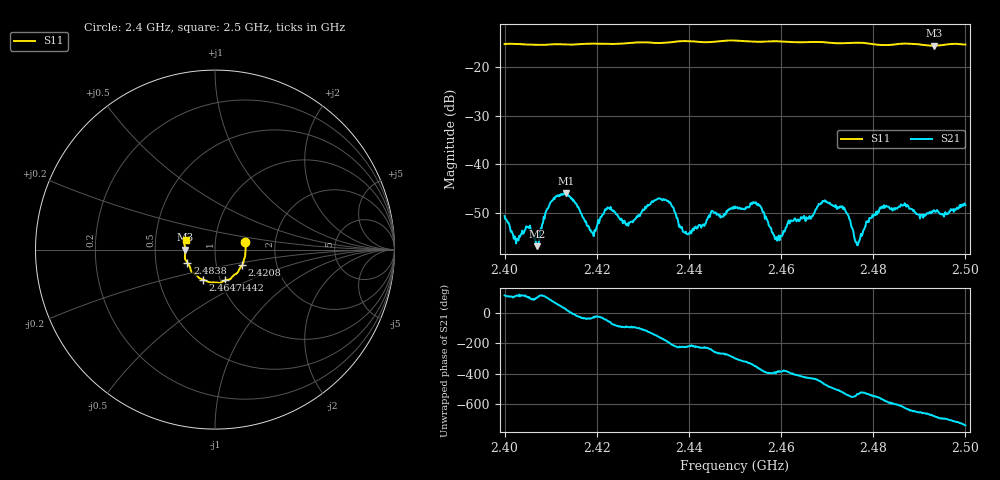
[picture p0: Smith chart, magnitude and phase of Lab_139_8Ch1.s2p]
# Hz S RI R 50
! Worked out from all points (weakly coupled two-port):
!   601 points, 2.4 GHz to 2.5 GHz, reference 50 ohm
!   highest |S21| = -46.00 dB at 2.4133 GHz (marker M1); lowest = -56.9 dB at 2.407 GHz (marker M2)
!   lowest |S11| = -15.6 dB at 2.4932 GHz (marker M3), VSWR 1.40, Z = 35.8 - j0.0738 ohm
!   |S11| at or under -10 dB: start of sweep to end of sweep
!   S12 and S22 are empty: the file has one direction only
!   S11 on the Smith chart (normalised r, x): 2.4 GHz: 1.40, +0.12; 2.4208 GHz: 1.33, -0.24; 2.4442 GHz: 1.05, -0.37; 2.4647 GHz: 0.83, -0.29; 2.4838 GHz: 0.73, -0.11; 2.5 GHz: 0.72, +0.08
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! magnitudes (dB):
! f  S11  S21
! 2.4 GHz  -15.3  -50.7
! 2.407 GHz  -15.4  -56.9
! 2.4102 GHz  -15.3  -47.8
! 2.4133 GHz  -15.3  -46.0
! 2.4167 GHz  -15.2  -50.2
! 2.4192 GHz  -15.2  -54.3
! 2.4208 GHz  -15.2  -50.9
! 2.4268 GHz  -15.1  -52.7
! 2.4333 GHz  -15.1  -47.1
! 2.4393 GHz  -14.6  -53.9
! 2.4442 GHz  -14.9  -50.9
! 2.45 GHz  -14.5  -48.8
! 2.455 GHz  -14.8  -48.2
! 2.4592 GHz  -14.7  -55.8
! 2.4647 GHz  -14.9  -51.3
! 2.4667 GHz  -14.8  -50.8
! 2.4733 GHz  -15.1  -48.7
! 2.4765 GHz  -15.0  -56.7
! 2.4833 GHz  -15.5  -48.8
! 2.4838 GHz  -15.4  -49.3
! 2.4932 GHz  -15.6  -49.5
! 2.5 GHz  -15.4  -48.5
